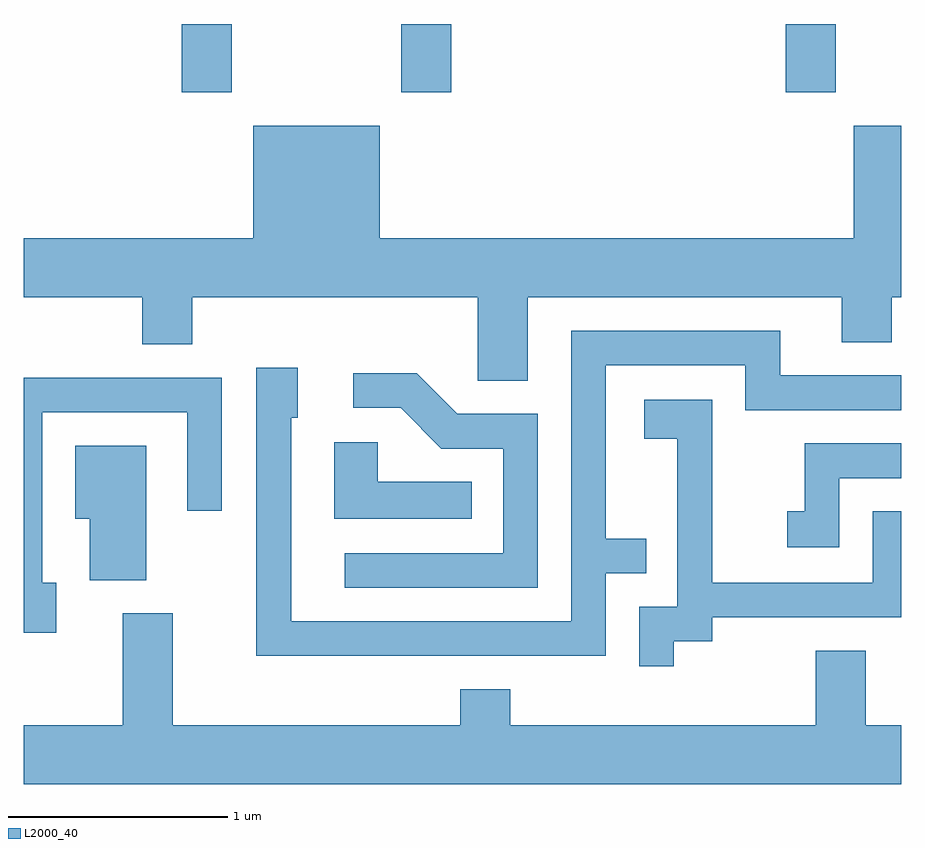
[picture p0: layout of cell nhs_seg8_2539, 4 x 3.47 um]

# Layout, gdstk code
import gdstk
lib = gdstk.Library(unit=1e-6, precision=1e-09)
def R(c, l, rs):  # rectangles x0, y0, x1, y1
    for r in rs: c.add(gdstk.rectangle(r[:2], r[2:], *l))
def P(c, l, *ps):  # polygons
    for p in ps: c.add(gdstk.Polygon(p, *l))
L2000_40 = (2000, 40)

nhs_seg8_2539 = lib.new_cell('nhs_seg8_2539')
R(nhs_seg8_2539, L2000_40, [(262.331,1824.031,262.559,1824.342), (263.331,1824.031,263.559,1824.342), (265.086,1824.031,265.314,1824.342)])
P(nhs_seg8_2539, L2000_40, [(263.909,1823.096),(265.341,1823.096),(265.341,1822.891),(265.569,1822.891),(265.569,1823.096),(265.611,1823.096),(265.611,1823.879),(265.396,1823.879),(265.396,1823.364),(263.234,1823.364),(263.234,1823.879),(262.656,1823.879),(262.656,1823.364),(261.611,1823.364),(261.611,1823.096),(262.151,1823.096),(262.151,1822.881),(262.379,1822.881),(262.379,1823.096),(263.681,1823.096),(263.681,1822.716),(263.909,1822.716)],
  [(264.264,1821.836),(264.448,1821.836),(264.448,1821.994),(264.264,1821.994),(264.264,1822.786),(264.901,1822.786),(264.901,1822.581),(265.611,1822.581),(265.611,1822.739),(265.059,1822.739),(265.059,1822.944),(264.106,1822.944),(264.106,1821.619),(262.829,1821.619),(262.829,1822.546),(262.859,1822.546),(262.859,1822.774),(262.671,1822.774),(262.671,1821.461),(264.264,1821.461)],
  [(263.954,1822.564),(263.587,1822.564),(263.402,1822.749),(263.113,1822.749),(263.113,1822.591),(263.329,1822.591),(263.514,1822.406),(263.796,1822.406),(263.796,1821.929),(263.073,1821.929),(263.073,1821.771),(263.954,1821.771)],
  [(261.759,1821.794),(261.694,1821.794),(261.694,1822.571),(262.356,1822.571),(262.356,1822.123),(262.514,1822.123),(262.514,1822.729),(261.611,1822.729),(261.611,1821.566),(261.759,1821.566)],
  [(264.574,1821.526),(264.749,1821.526),(264.749,1821.636),(265.611,1821.636),(265.611,1822.119),(265.481,1822.119),(265.481,1821.794),(264.749,1821.794),(264.749,1822.629),(264.441,1822.629),(264.441,1822.451),(264.591,1822.451),(264.591,1821.684),(264.416,1821.684),(264.416,1821.413),(264.574,1821.413)],
  [(263.653,1822.254),(263.224,1822.254),(263.224,1822.434),(263.026,1822.434),(263.026,1822.086),(263.653,1822.086)],
  [(265.329,1822.271),(265.611,1822.271),(265.611,1822.429),(265.171,1822.429),(265.171,1822.119),(265.093,1822.119),(265.093,1821.956),(265.329,1821.956)],
  [(262.169,1822.419),(261.846,1822.419),(261.846,1822.086),(261.911,1822.086),(261.911,1821.806),(262.169,1821.806)],
  [(265.611,1821.144),(265.449,1821.144),(265.449,1821.484),(265.221,1821.484),(265.221,1821.144),(263.829,1821.144),(263.829,1821.309),(263.601,1821.309),(263.601,1821.144),(262.289,1821.144),(262.289,1821.654),(262.061,1821.654),(262.061,1821.144),(261.611,1821.144),(261.611,1820.876),(265.611,1820.876)])

lib.write_gds('nhs_seg8_2539.gds')
